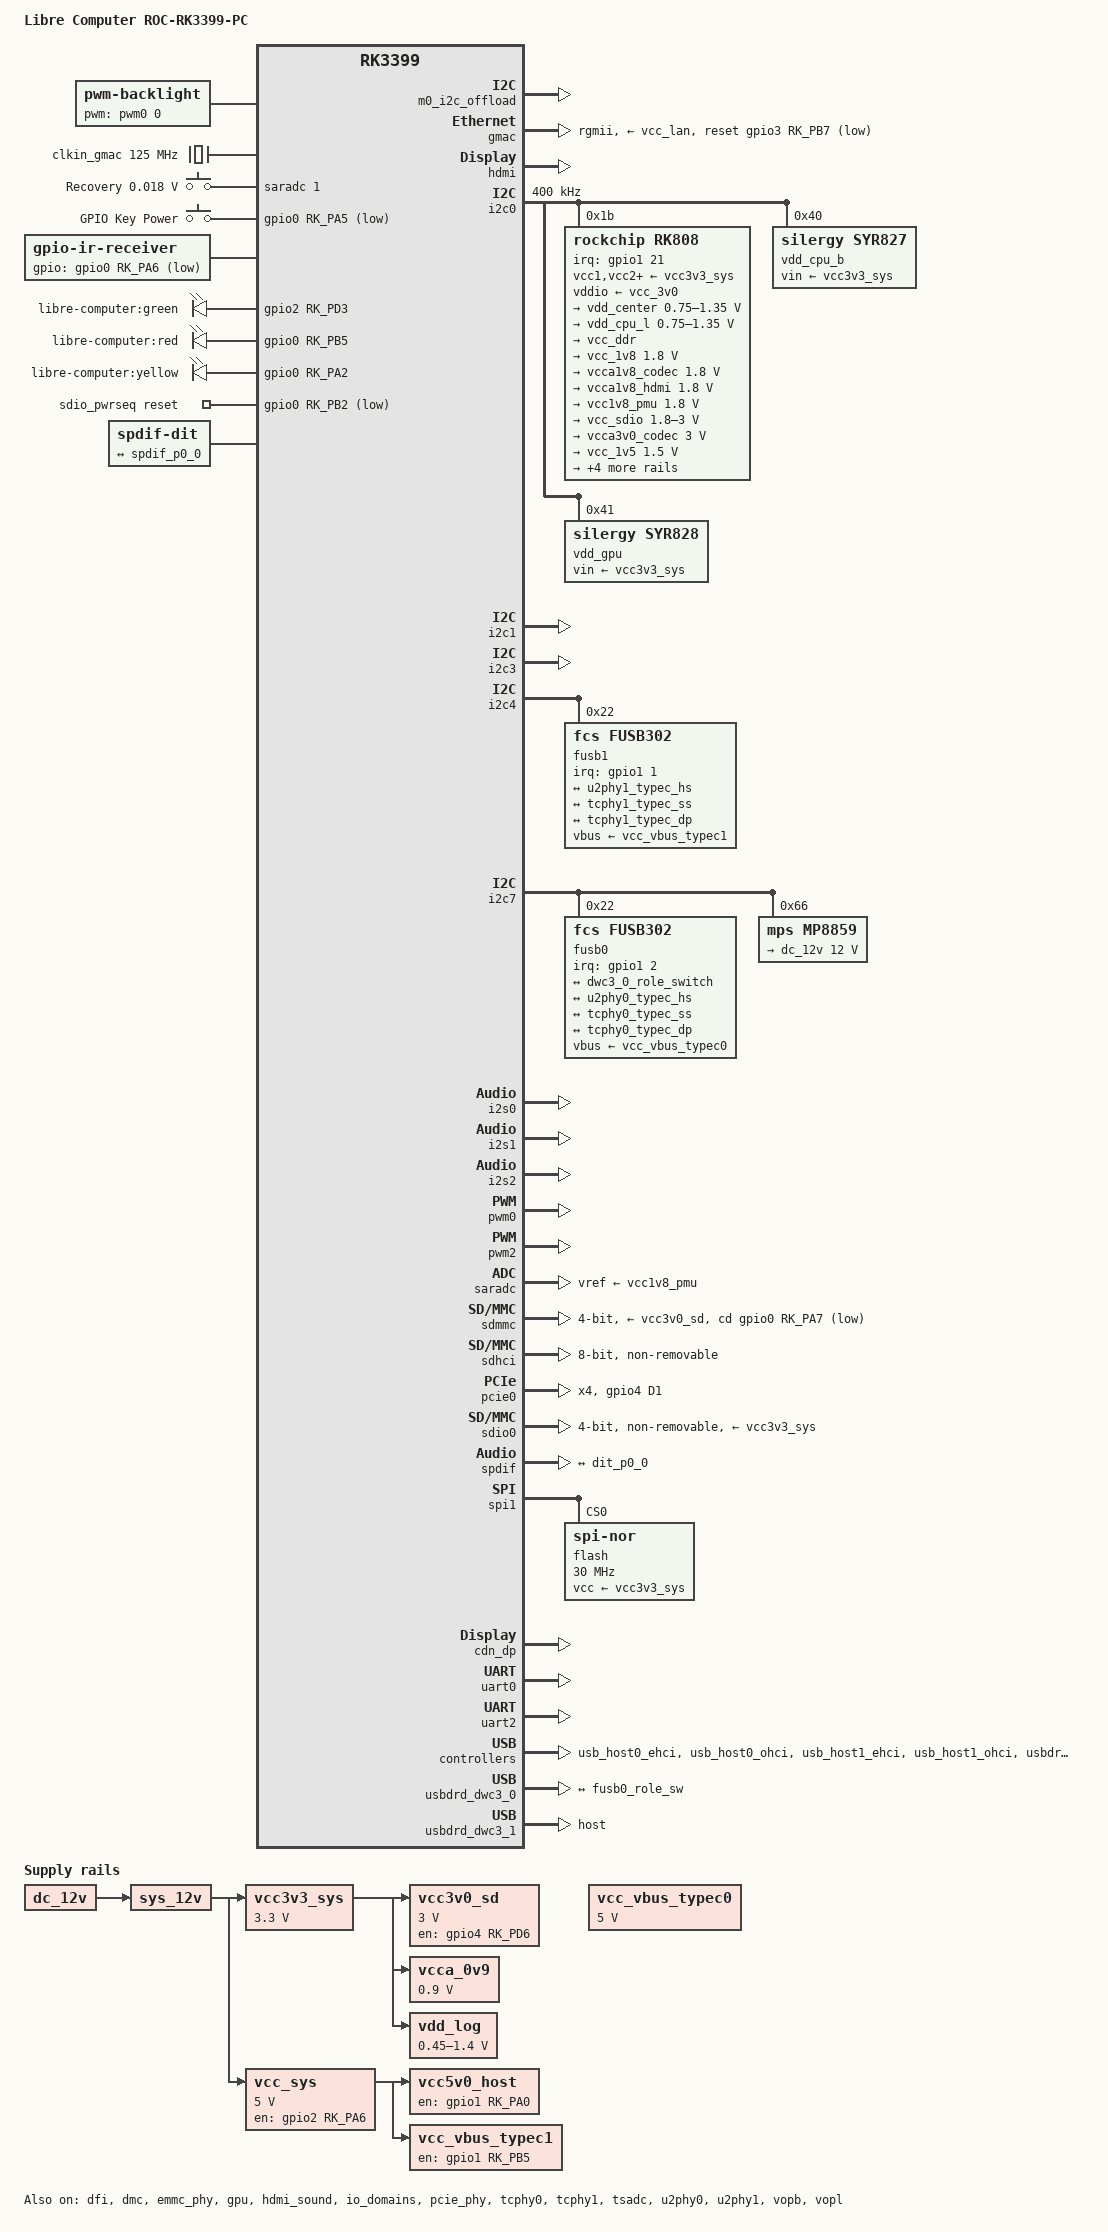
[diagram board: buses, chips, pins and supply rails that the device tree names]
// SPDX-License-Identifier: (GPL-2.0+ OR MIT)
/*
 * Copyright (c) 2017 T-Chip Intelligent Technology Co., Ltd
 */

/dts-v1/;
#include <dt-bindings/input/linux-event-codes.h>
#include <dt-bindings/pwm/pwm.h>
#include <dt-bindings/usb/pd.h>
#include "rk3399.dtsi"

/ {
	model = "Libre Computer ROC-RK3399-PC";
	compatible = "libre-computer,roc-rk3399-pc", "firefly,roc-rk3399-pc", "rockchip,rk3399";

	aliases {
		ethernet0 = &gmac;
		/*
		 * eMMC first, SD second. The MMC index is a priority order --
		 * the on-board eMMC is the primary boot medium and the SD slot
		 * is the removable one, so &sdhci is mmc0 and &sdmmc is mmc1.
		 *
		 * This is what rk3399-u-boot.dtsi has always said for the whole
		 * RK3399 family, so before this the two trees described the
		 * same two controllers with opposite numbers.
		 */
		mmc0 = &sdhci;
		mmc1 = &sdmmc;
		/* J15 SDIO0. The index matches rk3399-roc-pc-mezzanine.dts. */
		mmc2 = &sdio0;
	};

	chosen {
		stdout-path = "serial2:115200n8";
	};

	backlight: backlight {
		compatible = "pwm-backlight";
		pwms = <&pwm0 0 25000 0>;
	};

	clkin_gmac: external-gmac-clock {
		compatible = "fixed-clock";
		clock-frequency = <125000000>;
		clock-output-names = "clkin_gmac";
		#clock-cells = <0>;
	};

	/*
	 * SCMI (ARM DEN 0056), served by the Libre Computer BL31 from the
	 * SoC's Cortex-M0 and reached by SMC 0x82000010 (RK_SIP_SCMI_AGENT0),
	 * the id every other Rockchip SoC upstream uses for arm,scmi-smc.
	 * The server is board firmware, not silicon, so the agent lives in
	 * the board dtsi rather than rk3399.dtsi. Every consumer stays on
	 * &cru; the protocols are the ten read-mostly clocks and four reset
	 * domains of the perilp M0 the firmware exposes.
	 *
	 * Buffer at 0x100000, the first non-secure DRAM page: TZRAM is
	 * [0, 1 MiB) and BL31 lives at 0x40000 inside it. It is NOT in
	 * PMUSRAM, which would be the always-on choice, because PMUSRAM is
	 * secure-only on this SoC (MT_SECURE + SGRF_PMUSRAM_S) and an SMC
	 * against a buffer there hangs U-Boot before it relocates the kernel.
	 *
	 * No reserved-memory node for the buffer, deliberately: U-Boot's
	 * dram_init_banksize() starts /memory at 0x200000 ("Reserve 2M for
	 * ATF bl31"), so [0, 2 MiB) is already outside the kernel's view and
	 * a reservation there only reports a region the kernel never had.
	 */
	scmi_shmem: shmem@100000 {
		compatible = "arm,scmi-shmem";
		reg = <0x0 0x00100000 0x0 0x100>;
	};

	/*
	 * mailbox1 is pmum0's doorbell (TRM 1.4). It carries no data -- the
	 * SCMI message is in scmi_shmem -- but its pclk phandle here is what
	 * keeps pclk_mailbox_pmu out of clk_disable_unused, without which the
	 * doorbell would never reach the server.
	 */
	mbox1: mailbox@ff390000 {
		compatible = "rockchip,rk3399-mailbox";
		reg = <0x0 0xff390000 0x0 0x1000>;
		interrupts = <GIC_SPI 140 IRQ_TYPE_LEVEL_HIGH 0>,
			     <GIC_SPI 141 IRQ_TYPE_LEVEL_HIGH 0>,
			     <GIC_SPI 142 IRQ_TYPE_LEVEL_HIGH 0>,
			     <GIC_SPI 143 IRQ_TYPE_LEVEL_HIGH 0>;
		clocks = <&pmucru PCLK_MAILBOX_PMU>;
		clock-names = "pclk_mailbox";
		#mbox-cells = <1>;
	};

	/*
	 * I2C0 stays with Linux -- the M0 asks instead of taking. When the
	 * M0 SCMI server needs an RK808 register for a CPU OPP voltage it
	 * posts the request to this page and rings mailbox1 channel 1;
	 * drivers/soc/rockchip/rockchip-m0-i2c-offload.c runs the
	 * transfer and answers. Same addressing as scmi_shmem above:
	 * [0, 2 MiB) is already outside the kernel's /memory, so no
	 * reserved-memory node, deliberately.
	 */
	m0_i2c_offload: m0-i2c-offload@101000 {
		compatible = "rockchip,rk3399-m0-i2c-offload";
		reg = <0x0 0x00101000 0x0 0x40>;
		mboxes = <&mbox1 1>;
		rockchip,pwrctrl = <&rk808>;
	};

	firmware {
		scmi: scmi {
			compatible = "arm,scmi";
			mboxes = <&mbox1 0>;
			shmem = <&scmi_shmem>;
			#address-cells = <1>;
			#size-cells = <0>;

			scmi_clk: protocol@14 {
				reg = <0x14>;
				#clock-cells = <1>;
			};

			/* M0 TSADC reads: sensor 0 SoC/CPU, sensor 1 GPU */
			scmi_sensor: protocol@15 {
				reg = <0x15>;
				#thermal-sensor-cells = <1>;
			};

			scmi_reset: protocol@16 {
				reg = <0x16>;
				#reset-cells = <1>;
			};
		};
	};

	adc-keys {
		compatible = "adc-keys";
		io-channels = <&saradc 1>;
		io-channel-names = "buttons";
		keyup-threshold-microvolt = <1500000>;
		poll-interval = <100>;

		button-recovery {
			label = "Recovery";
			linux,code = <KEY_VENDOR>;
			press-threshold-microvolt = <18000>;
		};
	};

	gpio-keys {
		compatible = "gpio-keys";
		autorepeat;
		pinctrl-names = "default";
		pinctrl-0 = <&pwr_key_l>;

		key-power {
			debounce-interval = <100>;
			gpios = <&gpio0 RK_PA5 GPIO_ACTIVE_LOW>;
			label = "GPIO Key Power";
			linux,code = <KEY_POWER>;
			wakeup-source;
		};
	};

	ir-receiver {
		compatible = "gpio-ir-receiver";
		gpios = <&gpio0 RK_PA6 GPIO_ACTIVE_LOW>;
		pinctrl-names = "default";
		pinctrl-0 = <&ir_int>;
	};

	leds {
		compatible = "gpio-leds";
		pinctrl-names = "default";
		pinctrl-0 = <&work_led_pin>, <&diy_led_pin>, <&yellow_led_pin>;

		work_led: led-0 {
			label = "libre-computer:green";
			gpios = <&gpio2 RK_PD3 GPIO_ACTIVE_HIGH>;
			default-state = "on";
			linux,default-trigger = "heartbeat";
		};

		diy_led: led-1 {
			label = "libre-computer:red";
			gpios = <&gpio0 RK_PB5 GPIO_ACTIVE_HIGH>;
			default-state = "on";
		};

		yellow_led: led-2 {
			label = "libre-computer:yellow";
			gpios = <&gpio0 RK_PA2 GPIO_ACTIVE_HIGH>;
			default-state = "off";
			linux,default-trigger = "disk-activity";
			linux,panic-indicator;
		};
	};

	sdio_pwrseq: sdio-pwrseq {
		compatible = "mmc-pwrseq-simple";
		clocks = <&rk808 1>;
		clock-names = "ext_clock";
		pinctrl-names = "default";
		pinctrl-0 = <&wifi_enable_h>;

		/*
		 * On the module itself this is one of these (depending
		 * on the actual card populated):
		 * - SDIO_RESET_L_WL_REG_ON
		 * - PDN (power down when low)
		 */
		reset-gpios = <&gpio0 RK_PB2 GPIO_ACTIVE_LOW>;
	};

	sound-dit {
		compatible = "audio-graph-card";
		label = "SPDIF";
		dais = <&spdif_p0>;
	};

	spdif-dit {
		compatible = "linux,spdif-dit";
		#sound-dai-cells = <0>;

		port {
			dit_p0_0: endpoint {
				remote-endpoint = <&spdif_p0_0>;
			};
		};
	};

	vcc_vbus_typec0: regulator-vcc-vbus-typec0 {
		compatible = "regulator-fixed";
		regulator-name = "vcc_vbus_typec0";
		regulator-always-on;
		regulator-boot-on;
		regulator-min-microvolt = <5000000>;
		regulator-max-microvolt = <5000000>;
	};

	sys_12v: regulator-sys-12v {
		compatible = "regulator-fixed";
		regulator-name = "sys_12v";
		regulator-always-on;
		regulator-boot-on;
		vin-supply = <&dc_12v>;
	};

	/*
	 * No vcc1v8_s3 / vcca1v8_s3 rail. The schematic has no such net on
	 * any revision: the only "VCC1V8_S3" is on the reference power-domain
	 * map (sheet 3), and the circuit sheets wire that domain (APIO3,
	 * sheet 14 APIO3_VDD_1V8) straight to VCC_1V8, RK808 BUCK4. The rail
	 * this node used to stand in for -- the SARADC reference -- is
	 * VCCA_1V8, RK808 LDO3 (sheet 11 ADC_AVDD, sheet 16 VLDO3), i.e.
	 * vcc1v8_pmu, which &saradc names directly.
	 */

	vcc3v0_sd: regulator-vcc3v0-sd {
		compatible = "regulator-fixed";
		enable-active-high;
		gpio = <&gpio4 RK_PD6 GPIO_ACTIVE_HIGH>;
		pinctrl-names = "default";
		pinctrl-0 = <&vcc3v0_sd_en>;
		regulator-name = "vcc3v0_sd";
		regulator-boot-on;
		regulator-min-microvolt = <3000000>;
		regulator-max-microvolt = <3000000>;
		vin-supply = <&vcc3v3_sys>;
	};

	vcc3v3_sys: regulator-vcc3v3-sys {
		compatible = "regulator-fixed";
		regulator-name = "vcc3v3_sys";
		regulator-always-on;
		regulator-boot-on;
		regulator-min-microvolt = <3300000>;
		regulator-max-microvolt = <3300000>;
		vin-supply = <&sys_12v>;
	};

	vcca_0v9: regulator-vcca-0v9 {
		compatible = "regulator-fixed";
		regulator-name = "vcca_0v9";
		regulator-always-on;
		regulator-boot-on;
		regulator-min-microvolt = <900000>;
		regulator-max-microvolt = <900000>;
		vin-supply = <&vcc3v3_sys>;
	};

	/* Actually 3 regulators (host0, 1, 2) controlled by the same gpio */
	vcc5v0_host: regulator-vcc5v0-host {
		compatible = "regulator-fixed";
		enable-active-high;
		gpio = <&gpio1 RK_PA0 GPIO_ACTIVE_HIGH>;
		pinctrl-names = "default";
		pinctrl-0 = <&vcc5v0_host_en &hub_rst>;
		regulator-name = "vcc5v0_host";
		/*
		 * The bootloader turns this rail on: USB is a boot source,
		 * and applying the &hub_rst group above is what releases
		 * the USB 3.0 hub from reset. Saying so here keeps the
		 * fixed-regulator driver from requesting GPIO1_A0 as
		 * OUT_LOW at probe and dropping the host ports' 5 V until
		 * the USB PHYs re-enable it.
		 */
		regulator-boot-on;
		vin-supply = <&vcc_sys>;
	};

	vcc_vbus_typec1: regulator-vcc-vbus-typec1 {
		compatible = "regulator-fixed";
		enable-active-high;
		gpio = <&gpio1 RK_PB5 GPIO_ACTIVE_HIGH>;
		pinctrl-names = "default";
		pinctrl-0 = <&vcc_vbus_typec1_en>;
		regulator-name = "vcc_vbus_typec1";
		/*
		 * Deliberately NOT regulator-always-on. This is a Type-C
		 * source port's VBUS, so it belongs to the port manager:
		 * TCPM sequences it as part of attach, and pinning it on
		 * stalls the state machine in SRC_ATTACH_WAIT -- CC1 reads
		 * Rd and the transition to SRC_ATTACHED never completes,
		 * because that step is "now turn VBUS on" and there is
		 * nothing left to turn on.
		 *
		 * It is fed from vcc_sys and switched by GPIO1_B5, which is
		 * exactly what fusb1's vbus-supply needs to drive.
		 */
		vin-supply = <&vcc_sys>;
	};

	vcc_sys: regulator-vcc-sys {
		compatible = "regulator-fixed";
		enable-active-high;
		gpio = <&gpio2 RK_PA6 GPIO_ACTIVE_HIGH>;
		pinctrl-names = "default";
		pinctrl-0 = <&vcc_sys_en>;
		regulator-name = "vcc_sys";
		regulator-boot-on;
		regulator-min-microvolt = <5000000>;
		regulator-max-microvolt = <5000000>;
		vin-supply = <&sys_12v>;
	};

	vdd_log: regulator-vdd-log {
		compatible = "pwm-regulator";
		pwms = <&pwm2 0 25000 1>;
		regulator-name = "vdd_log";
		regulator-always-on;
		regulator-boot-on;
		regulator-min-microvolt = <450000>;
		regulator-max-microvolt = <1400000>;
		pwm-supply = <&vcc3v3_sys>;
	};

	/*
	 * The LPDDR4 DFS set points, every one a rate BL31's dfs.c
	 * ddr_set_rate() reached from 800 MHz and back with a two-sided
	 * 512 MiB memory check clean on both legs, on its JESD209-4 latency
	 * (928 RL20/WL10 ... 200 RL6/WL4). 800 MHz is the TPL-trained boot
	 * set point. Every entry carries the boot vdd_center; no rate has been
	 * measured at any other voltage, so none is lowered here.
	 *
	 * The table REQUIRES a BL31 that generates the PI's per-frequency F2
	 * fields (LBS atf master ca4ce2c2e and later): on the earlier firmware
	 * controller index 0 was retrained against the loader's 400 MHz
	 * latencies, and 928 and 200 wedged mid-print with no console or
	 * watchdog path out. The measured set is the ROC-RK3399-PC V1.2A
	 * (single-rank per channel); the V1.0 two-rank package is unmeasured.
	 */
	dmc_opp_table: opp-table-3 {
		compatible = "operating-points-v2";

		opp00 {
			opp-hz = /bits/ 64 <200000000>;
			opp-microvolt = <900000 900000 925000>;
		};
		opp01 {
			opp-hz = /bits/ 64 <300000000>;
			opp-microvolt = <900000 900000 925000>;
		};
		opp02 {
			opp-hz = /bits/ 64 <400000000>;
			opp-microvolt = <900000 900000 925000>;
		};
		opp03 {
			opp-hz = /bits/ 64 <528000000>;
			opp-microvolt = <900000 900000 925000>;
		};
		opp04 {
			opp-hz = /bits/ 64 <600000000>;
			opp-microvolt = <900000 900000 925000>;
		};
		opp05 {
			opp-hz = /bits/ 64 <666000000>;
			opp-microvolt = <900000 900000 925000>;
		};
		opp06 {
			opp-hz = /bits/ 64 <732000000>;
			opp-microvolt = <900000 900000 925000>;
		};
		opp07 {
			opp-hz = /bits/ 64 <800000000>;
			opp-microvolt = <900000 900000 925000>;
		};
		opp08 {
			opp-hz = /bits/ 64 <928000000>;
			opp-microvolt = <900000 900000 925000>;
		};
	};
};

&cpu_l0 {
	cpu-supply = <&vdd_cpu_l>;
};

&cpu_l1 {
	cpu-supply = <&vdd_cpu_l>;
};

&cpu_l2 {
	cpu-supply = <&vdd_cpu_l>;
};

&cpu_l3 {
	cpu-supply = <&vdd_cpu_l>;
};

&cpu_b0 {
	cpu-supply = <&vdd_cpu_b>;
};

&cpu_b1 {
	cpu-supply = <&vdd_cpu_b>;
};

&dfi {
	status = "okay";
};

/*
 * The PL330 DMACs are AXI masters on PERILP, the one interconnect segment a
 * DRAM frequency change cannot idle (it carries the SRAM the switch runs
 * from); a transfer in flight during a switch hangs the SoC. Each DMAC drains
 * itself on the dmc devfreq's PRECHANGE and vetoes a change it cannot drain
 * for -- see drivers/dma/pl330.c pl330_dmc_notifier().
 */
&dmac_bus {
	rockchip,dmc-devfreq = <&dmc>;
};

&dmac_peri {
	rockchip,dmc-devfreq = <&dmc>;
};

/*
 * A frequency change goes clk_set_rate(SCLK_DDRC) -> SMC ROCKCHIP_SIP_DRAM_FREQ
 * -> BL31 ddr_set_rate(), preceded by DRAM_SET_ODT_PD carrying the idle timers
 * below and the ODT enable, which the driver drops below lpddr4_odt_dis_freq.
 * The rates dmc_opp_table may cite, and the BL31 it needs, are stated there.
 */
&dmc {
	status = "okay";
	center-supply = <&vdd_center>;
	operating-points-v2 = <&dmc_opp_table>;

	rockchip,pd-idle-ns = <160>;
	rockchip,sr-idle-ns = <10240>;
	rockchip,sr-mc-gate-idle-ns = <40960>;
	rockchip,srpd-lite-idle-ns = <61440>;
	rockchip,standby-idle-ns = <81920>;

	rockchip,ddr3_odt_dis_freq = <666000000>;
	rockchip,lpddr3_odt_dis_freq = <666000000>;
	rockchip,lpddr4_odt_dis_freq = <666000000>;

	rockchip,sr-mc-gate-idle-dis-freq-hz = <1000000000>;
	rockchip,srpd-lite-idle-dis-freq-hz = <0>;
	rockchip,standby-idle-dis-freq-hz = <928000000>;
};

&emmc_phy {
	status = "okay";
};

&gmac {
	assigned-clocks = <&cru SCLK_RMII_SRC>;
	assigned-clock-parents = <&clkin_gmac>;
	clock_in_out = "input";
	phy-supply = <&vcc_lan>;
	phy-mode = "rgmii";
	pinctrl-names = "default";
	pinctrl-0 = <&rgmii_pins>;
	snps,reset-gpio = <&gpio3 RK_PB7 GPIO_ACTIVE_LOW>;
	snps,reset-active-low;
	snps,reset-delays-us = <0 10000 50000>;
	tx_delay = <0x28>;
	rx_delay = <0x11>;
	status = "okay";
};

/*
 * The 14 PMU-domain lines, named by their schematic nets (sheet 7 "RK3399
 * PMU Controler", identical on V1.0, V1.1-A and V1.2A). GPIO0_A1 and
 * GPIO0_B4 carry no on-board function: on V1.0 and V1.1-A they go to the
 * expansion header, J20 pins 25 and 26, under their own names. V1.2A rewires
 * both to the eDP touch panel -- rk3399-roc-pc-v1.2.dts overrides these two.
 */
&gpio0 {
	gpio-line-names =
		/* GPIO0_A0..A7 */
		"RTC_CLKO_SOC", "GPIO0_A1", "YELLOW_LED", "WIFI_HOST_WAKE_L",
		"BT_HOST_WAKE_L", "PWR_KEY_L", "IR_INT", "SDMMC0_DET_L",
		/* GPIO0_B0..B5 */
		"MIPI_RST", "BT_REG_ON_H", "WIFI_REG_ON_H", "EFUSE_VQPS_EN_H",
		"GPIO0_B4", "DIY_LED";
};

&gpu {
	mali-supply = <&vdd_gpu>;
	status = "okay";
};

&hdmi {
	avdd-0v9-supply = <&vcca0v9_hdmi>;
	avdd-1v8-supply = <&vcca1v8_hdmi>;
	ddc-i2c-bus = <&i2c3>;
	pinctrl-names = "default";
	pinctrl-0 = <&hdmi_cec>;
	status = "okay";
};

&hdmi_sound {
	status = "okay";
};

&i2c0 {
	clock-frequency = <400000>;
	i2c-scl-rising-time-ns = <168>;
	i2c-scl-falling-time-ns = <4>;
	status = "okay";

	rk808: pmic@1b {
		compatible = "rockchip,rk808";
		reg = <0x1b>;
		interrupt-parent = <&gpio1>;
		interrupts = <21 IRQ_TYPE_LEVEL_LOW>;
		#clock-cells = <1>;
		clock-output-names = "xin32k", "rk808-clkout2";
		pinctrl-names = "default";
		pinctrl-0 = <&pmic_int_l>;
		system-power-controller;
		wakeup-source;

		vcc1-supply = <&vcc3v3_sys>;
		vcc2-supply = <&vcc3v3_sys>;
		vcc3-supply = <&vcc3v3_sys>;
		vcc4-supply = <&vcc3v3_sys>;
		vcc6-supply = <&vcc3v3_sys>;
		vcc7-supply = <&vcc3v3_sys>;
		vcc8-supply = <&vcc3v3_sys>;
		vcc9-supply = <&vcc3v3_sys>;
		vcc10-supply = <&vcc3v3_sys>;
		vcc11-supply = <&vcc3v3_sys>;
		vcc12-supply = <&vcc3v3_sys>;
		vddio-supply = <&vcc_3v0>;

		regulators {
			vdd_center: DCDC_REG1 {
				regulator-name = "vdd_center";
				regulator-always-on;
				regulator-boot-on;
				regulator-min-microvolt = <750000>;
				regulator-max-microvolt = <1350000>;
				regulator-ramp-delay = <6001>;
				regulator-state-mem {
					regulator-off-in-suspend;
				};
			};

			vdd_cpu_l: DCDC_REG2 {
				regulator-name = "vdd_cpu_l";
				regulator-always-on;
				regulator-boot-on;
				regulator-min-microvolt = <750000>;
				regulator-max-microvolt = <1350000>;
				regulator-ramp-delay = <6001>;
				regulator-state-mem {
					regulator-off-in-suspend;
				};
			};

			vcc_ddr: DCDC_REG3 {
				regulator-name = "vcc_ddr";
				regulator-always-on;
				regulator-boot-on;
				regulator-state-mem {
					regulator-on-in-suspend;
				};
			};

			vcc_1v8: DCDC_REG4 {
				regulator-name = "vcc_1v8";
				regulator-always-on;
				regulator-boot-on;
				regulator-min-microvolt = <1800000>;
				regulator-max-microvolt = <1800000>;
				regulator-state-mem {
					regulator-on-in-suspend;
					regulator-suspend-microvolt = <1800000>;
				};
			};

			vcca1v8_codec: LDO_REG1 {
				regulator-name = "vcca1v8_codec";
				regulator-always-on;
				regulator-boot-on;
				regulator-min-microvolt = <1800000>;
				regulator-max-microvolt = <1800000>;
				regulator-state-mem {
					regulator-off-in-suspend;
				};
			};

			vcca1v8_hdmi: LDO_REG2 {
				regulator-name = "vcca1v8_hdmi";
				regulator-always-on;
				regulator-boot-on;
				regulator-min-microvolt = <1800000>;
				regulator-max-microvolt = <1800000>;
				regulator-state-mem {
					regulator-off-in-suspend;
				};
			};

			vcc1v8_pmu: LDO_REG3 {
				regulator-name = "vcc1v8_pmu";
				regulator-always-on;
				regulator-boot-on;
				regulator-min-microvolt = <1800000>;
				regulator-max-microvolt = <1800000>;
				regulator-state-mem {
					regulator-on-in-suspend;
					regulator-suspend-microvolt = <1800000>;
				};
			};

			vcc_sdio: LDO_REG4 {
				regulator-name = "vcc_sdio";
				regulator-always-on;
				regulator-boot-on;
				regulator-min-microvolt = <1800000>;
				regulator-max-microvolt = <3000000>;
				regulator-state-mem {
					regulator-on-in-suspend;
					regulator-suspend-microvolt = <3000000>;
				};
			};

			vcca3v0_codec: LDO_REG5 {
				regulator-name = "vcca3v0_codec";
				regulator-always-on;
				regulator-boot-on;
				regulator-min-microvolt = <3000000>;
				regulator-max-microvolt = <3000000>;
				regulator-state-mem {
					regulator-off-in-suspend;
				};
			};

			vcc_1v5: LDO_REG6 {
				regulator-name = "vcc_1v5";
				regulator-always-on;
				regulator-boot-on;
				regulator-min-microvolt = <1500000>;
				regulator-max-microvolt = <1500000>;
				regulator-state-mem {
					regulator-on-in-suspend;
					regulator-suspend-microvolt = <1500000>;
				};
			};

			vcca0v9_hdmi: LDO_REG7 {
				regulator-name = "vcca0v9_hdmi";
				regulator-always-on;
				regulator-boot-on;
				regulator-min-microvolt = <900000>;
				regulator-max-microvolt = <900000>;
				regulator-state-mem {
					regulator-off-in-suspend;
				};
			};

			vcc_3v0: LDO_REG8 {
				regulator-name = "vcc_3v0";
				regulator-always-on;
				regulator-boot-on;
				regulator-min-microvolt = <3000000>;
				regulator-max-microvolt = <3000000>;
				regulator-state-mem {
					regulator-on-in-suspend;
					regulator-suspend-microvolt = <3000000>;
				};
			};

			vcc3v3_s3: vcc_lan: SWITCH_REG1 {
				regulator-name = "vcc3v3_s3";
				regulator-always-on;
				regulator-boot-on;
				regulator-state-mem {
					regulator-off-in-suspend;
				};
			};

			vcc3v3_s0: SWITCH_REG2 {
				regulator-name = "vcc3v3_s0";
				regulator-always-on;
				regulator-boot-on;
				regulator-state-mem {
					regulator-off-in-suspend;
				};
			};
		};
	};

	vdd_cpu_b: regulator@40 {
		compatible = "silergy,syr827";
		reg = <0x40>;
		fcs,suspend-voltage-selector = <1>;
		pinctrl-names = "default";
		pinctrl-0 = <&vsel1_pin>;
		regulator-name = "vdd_cpu_b";
		regulator-min-microvolt = <712500>;
		regulator-max-microvolt = <1500000>;
		regulator-ramp-delay = <1000>;
		regulator-always-on;
		regulator-boot-on;
		vin-supply = <&vcc3v3_sys>;

		regulator-state-mem {
			regulator-off-in-suspend;
		};
	};

	vdd_gpu: regulator@41 {
		compatible = "silergy,syr828";
		reg = <0x41>;
		fcs,suspend-voltage-selector = <1>;
		pinctrl-names = "default";
		pinctrl-0 = <&vsel2_pin>;
		regulator-name = "vdd_gpu";
		regulator-min-microvolt = <712500>;
		regulator-max-microvolt = <1500000>;
		regulator-ramp-delay = <1000>;
		regulator-always-on;
		regulator-boot-on;
		vin-supply = <&vcc3v3_sys>;

		regulator-state-mem {
			regulator-off-in-suspend;
		};
	};
};

&i2c1 {
	i2c-scl-rising-time-ns = <300>;
	i2c-scl-falling-time-ns = <15>;
	status = "okay";
};

&i2c3 {
	i2c-scl-rising-time-ns = <450>;
	i2c-scl-falling-time-ns = <15>;
	status = "okay";
};

&i2c4 {
	i2c-scl-rising-time-ns = <600>;
	i2c-scl-falling-time-ns = <20>;
	status = "okay";

	fusb1: usb-typec@22 {
		compatible = "fcs,fusb302";
		reg = <0x22>;
		interrupt-parent = <&gpio1>;
		interrupts = <1 IRQ_TYPE_LEVEL_LOW>;
		pinctrl-names = "default";
		pinctrl-0 = <&fusb1_int>;
		vbus-supply = <&vcc_vbus_typec1>;
		status = "okay";

		usb_con1: connector {
			compatible = "usb-c-connector";
			/*
			 * "dual", not "host". This property is the connector's
			 * Type-C DATA role capability, not the dwc3 dr_mode.
			 *
			 * "host" sets typec_caps.data = TYPEC_PORT_DFP, and
			 * tcpm_data_role_for_sink() then hands TYPEC_HOST to
			 * tcpm_set_roles() on every sink attach -- so a port
			 * that has just attached as a SINK is recorded as a
			 * DFP. When the partner (a source, therefore a DFP)
			 * sends its first PD message, PD_HEADER_DATA_ROLE
			 * matches port->data_role and tcpm_pd_rx_handler()
			 * declares "Data role mismatch, initiating error
			 * recovery". PORT_RESET, re-toggle, re-attach, same
			 * mismatch -- an unbounded ~0.55 s loop that never
			 * reaches a PD contract, so DISCOVER_SVIDS and DP
			 * alt mode never happen.
			 *
			 * With "dual" the sink attach takes TYPEC_DEVICE, the
			 * header bit disagrees with the partner's, and the
			 * contract completes. Every in-tree board carrying the
			 * 0x00001c46 DP VDO (qrb5165-rb5, sm8150-hdk,
			 * mt8395-genio-1200-evk) declares "dual" likewise.
			 */
			data-role = "dual";
			label = "USB-C1";
			op-sink-microwatt = <1000000>;
			power-role = "dual";
			/*
			 * The board does not draw its power through this
			 * receptacle -- Type-C0 is the PD inlet feeding the
			 * MP8859 -- so TCPM may present CC Open here.
			 *
			 * That is what makes error recovery an actual
			 * electrical detach. tcpm_state_machine()'s PORT_RESET
			 * gates on this: with self-powered it drives
			 * TYPEC_CC_OPEN, and without it it drives Rd/Rp, so the
			 * partner never sees a disconnect, keeps its protocol
			 * state and data role, and is re-offered the same
			 * conditions that failed. Nothing bounds the retry.
			 *
			 * Measured on the U-Boot side of this exact port, where
			 * the same predicate and the same missing property
			 * produced the same burst: adding it took DisplayPort
			 * link-up from 6-of-7 boots to 10-of-10, the PD
			 * "data role mismatch, initiating error recovery"
			 * lines from 4-5 per boot to 1-2, and settle time from
			 * ~13 s to ~8 s.
			 *
			 * NOT on usb_con0, deliberately: the board IS powered
			 * through that one, so opening its CC lines during a
			 * reset would cut the supply it is sitting on.
			 */
			self-powered;
			sink-pdos =
				<PDO_FIXED(5000, 2500, PDO_FIXED_USB_COMM)>;
			source-pdos =
				<PDO_FIXED(5000, 1400, PDO_FIXED_USB_COMM)>;
			try-power-role = "sink";

			/*
			 * Declare that this port speaks DisplayPort alt mode.
			 * Without it the port registers no alt mode, and
			 * dp_altmode_probe() -- which matches the partner's
			 * pin assignments against THIS port's DP VDO -- has
			 * nothing to match, so the DisplayPort driver never
			 * binds and ENTER_MODE is never sent. Measured: the
			 * partner advertises SVID ff01 and DISCOVER_MODES
			 * completes, then nothing happens.
			 *
			 * The VDO is derived, not permissive. Field by field:
			 * capability 2 (DFP_D -- cdn-dp is source-only, there
			 * is no sink path in the driver), signalling 1 (the
			 * single DPAM 1.0b "DP signalling" value; the rate is
			 * clamped to HBR2 over DPCD by CDN_DP_MAX_LINK_RATE),
			 * receptacle 1, and DFP_D pin assignments 0x1c = C|D|E.
			 *
			 * C|D|E is a closed enumeration in the PHY, not a
			 * guess: rk_typec_mux_set() handles TYPEC_DP_STATE_C
			 * and _E as 4-lane DP and _D as 2-lane DP + USB3, and
			 * drops F, A and B to default: -- MODE_DFP_USB with
			 * dp_lanes = 0, i.e. no DP at all.
			 *
			 * Advertising everything (0xffffffff, which is what
			 * the Rockchip boards in-tree do) is not merely untidy.
			 * Because DP_CAP_RECEPTACLE is set, it claims F as
			 * well, and against a partner offering both D and F the
			 * multi-function mask in dp_altmode_configure() leaves
			 * two bits set; dp_altmode_notify() then takes
			 * get_count_order(0x28) = 6, past TYPEC_DP_STATE_F, and
			 * the mux falls through to USB-only. With 0x1c every
			 * reachable outcome is a single bit the mux handles.
			 *
			 * 0x00001c46 is also what qrb5165-rb5, sm8150-hdk and
			 * mt8395-genio-1200-evk ship -- every in-tree board
			 * that encodes a real value converges here.
			 */
			altmodes {
				displayport {
					svid = /bits/ 16 <0xff01>;
					vdo = <0x00001c46>;
				};
			};

			ports {
				#address-cells = <1>;
				#size-cells = <0>;

				port@0 {
					reg = <0>;

					usb_con1_hs: endpoint {
						remote-endpoint =
							<&u2phy1_typec_hs>;
					};
				};

				port@1 {
					reg = <1>;

					usb_con1_ss: endpoint {
						remote-endpoint =
							<&tcphy1_typec_ss>;
					};
				};

				port@2 {
					reg = <2>;

					usb_con1_dp: endpoint {
						remote-endpoint =
							<&tcphy1_typec_dp>;
					};
				};
			};
		};
	};
};

&i2c7 {
	i2c-scl-rising-time-ns = <600>;
	i2c-scl-falling-time-ns = <20>;
	status = "okay";

	fusb0: usb-typec@22 {
		compatible = "fcs,fusb302";
		reg = <0x22>;
		interrupt-parent = <&gpio1>;
		interrupts = <2 IRQ_TYPE_LEVEL_LOW>;
		pinctrl-names = "default";
		pinctrl-0 = <&fusb0_int>;
		vbus-supply = <&vcc_vbus_typec0>;
		status = "okay";

		/*
		 * The data role TCPM negotiates on this port drives the rear
		 * dwc3 through its role switch. Without it the dwc3 sat in
		 * dr_mode "otg" with no ID pin and latched HOST, and that xHCI
		 * refused every system suspend (-110 halt timeout, B121). The
		 * board is always a sink here, so the role is device unless a
		 * partner swaps data roles over PD.
		 */
		ports {
			#address-cells = <1>;
			#size-cells = <0>;

			port@0 {
				reg = <0>;

				fusb0_role_sw: endpoint {
					remote-endpoint = <&dwc3_0_role_switch>;
				};
			};
		};

		/*
		 * Type-C0 is this board's power input: VBUS_TYPEC0 feeds the
		 * MP8859 buck-boost that makes DC_12V. So it is a sink, not a
		 * dual-role port -- vcc_vbus_typec0 is a fixed always-on
		 * regulator with no enable GPIO, i.e. a placeholder for VBUS
		 * arriving, and nothing on this port can actually source it.
		 * (Type-C1 is the one that can: vcc_vbus_typec1 has an enable
		 * GPIO and vin-supply = <&vcc_sys>.)
		 *
		 * The sink list stops at 15 V because the MP8859 accepts
		 * 5-15 V in; a 20 V contract would put it outside its input
		 * range. Advertising only 5 V/2.5 A capped the whole board at
		 * 12.5 W, against a 12 V/3 A barrel jack and 802.3at PoE+.
		 */
		usb_con0: connector {
			compatible = "usb-c-connector";
			/*
			 * "dual", not "host" -- the same property, the same
			 * mechanism and the same fix as usb_con1 in
			 * 5e701b29dfe5f. "host" sets typec_caps.data to
			 * TYPEC_PORT_DFP, so tcpm_data_role_for_sink() hands
			 * TYPEC_HOST to the tcpm_set_roles() inside
			 * tcpm_snk_attach() on every sink attach. The partner
			 * is a source and therefore a DFP, both ends claim
			 * DFP, and tcpm_pd_rx_handler() declares "Data role
			 * mismatch, initiating error recovery" before any
			 * contract exists.
			 *
			 * It is worse here than it was on usb_con1, not
			 * better. This port has no self-powered -- deliberately,
			 * because the board draws its own supply through it --
			 * so PORT_RESET re-presents Rd instead of CC Open. The
			 * partner never sees a disconnect, so the loop runs
			 * silently rather than visibly, and no PD contract is
			 * ever reached on the port that feeds the MP8859.
			 *
			 * U-Boot's rk3399-roc-pc-u-boot.dtsi has said "dual"
			 * here all along; this line was the divergence.
			 */
			data-role = "dual";
			label = "USB-C0";
			op-sink-microwatt = <15000000>;
			power-role = "sink";
			sink-pdos =
				<PDO_FIXED(5000, 3000, PDO_FIXED_USB_COMM)>,
				<PDO_FIXED(9000, 3000, 0)>,
				<PDO_FIXED(12000, 3000, 0)>,
				<PDO_FIXED(15000, 3000, 0)>;

			/*
			 * The same DisplayPort alt mode as usb_con1, for the
			 * same reason: this port routes all four SuperSpeed
			 * pairs and its AUX pair to tcphy0, and cdn_dp names
			 * both PHYs, so it is DP-capable in hardware and
			 * declared nothing. The VDO derivation is usb_con1's
			 * comment; 0x00001c46 is the same closed C|D|E set the
			 * PHY mux handles on either port.
			 */
			altmodes {
				displayport {
					svid = /bits/ 16 <0xff01>;
					vdo = <0x00001c46>;
				};
			};

			ports {
				#address-cells = <1>;
				#size-cells = <0>;

				port@0 {
					reg = <0>;

					usb_con0_hs: endpoint {
						remote-endpoint =
							<&u2phy0_typec_hs>;
					};
				};

				port@1 {
					reg = <1>;

					usb_con0_ss: endpoint {
						remote-endpoint =
							<&tcphy0_typec_ss>;
					};
				};

				port@2 {
					reg = <2>;

					usb_con0_dp: endpoint {
						remote-endpoint =
							<&tcphy0_typec_dp>;
					};
				};
			};
		};
	};

	mp8859: regulator@66 {
		compatible = "mps,mp8859";
		reg = <0x66>;
		dc_12v: mp8859_dcdc {
			regulator-name = "dc_12v";
			regulator-min-microvolt = <12000000>;
			regulator-max-microvolt = <12000000>;
			regulator-always-on;
			regulator-boot-on;
			vin-supply = <&vcc_vbus_typec0>;

			regulator-state-mem {
				regulator-on-in-suspend;
				regulator-suspend-microvolt = <12000000>;
			};
		};
	};
};

&i2s0 {
	rockchip,playback-channels = <8>;
	rockchip,capture-channels = <8>;
	status = "okay";
};

&i2s1 {
	rockchip,playback-channels = <2>;
	rockchip,capture-channels = <2>;
	status = "okay";
};

&i2s2 {
	status = "okay";
};

&io_domains {
	audio-supply = <&vcca1v8_codec>;
	bt656-supply = <&vcc_3v0>;
	gpio1830-supply = <&vcc_3v0>;
	sdmmc-supply = <&vcc_sdio>;
	status = "okay";
};

&pmu_io_domains {
	pmu1830-supply = <&vcc_3v0>;
	status = "okay";
};

&pinctrl {
	buttons {
		pwr_key_l: pwr-key-l {
			rockchip,pins = <0 RK_PA5 RK_FUNC_GPIO &pcfg_pull_up>;
		};
	};

	ir {
		ir_int: ir-int {
			rockchip,pins = <0 RK_PA6 RK_FUNC_GPIO &pcfg_pull_none>;
		};
	};

	lcd-panel {
		lcd_panel_reset: lcd-panel-reset {
			rockchip,pins = <4 RK_PD5 RK_FUNC_GPIO &pcfg_pull_up>;
		};
	};

	leds {
		diy_led_pin: diy-led-pin {
			rockchip,pins = <0 RK_PB5 RK_FUNC_GPIO &pcfg_pull_none>;
		};

		work_led_pin: work-led-pin {
			rockchip,pins = <2 RK_PD3 RK_FUNC_GPIO &pcfg_pull_none>;
		};

		yellow_led_pin: yellow-led-pin {
			rockchip,pins = <0 RK_PA2 RK_FUNC_GPIO &pcfg_pull_none>;
		};
	};

	pmic {
		vsel1_pin: vsel1-pin {
			rockchip,pins = <1 RK_PC2 RK_FUNC_GPIO &pcfg_pull_down>;
		};

		vsel2_pin: vsel2-pin {
			rockchip,pins = <1 RK_PB6 RK_FUNC_GPIO &pcfg_pull_down>;
		};
	};

	sdio-pwrseq {
		wifi_enable_h: wifi-enable-h {
			rockchip,pins = <0 RK_PB2 RK_FUNC_GPIO &pcfg_pull_none>;
		};
	};

	sdmmc {
		vcc3v0_sd_en: vcc3v0-sd-en {
			rockchip,pins = <4 RK_PD6 RK_FUNC_GPIO &pcfg_pull_none>;
		};
	};

	/*
	 * PERST# for the PCIe connector. GPIO4_D1 is J12 pin 5 on this
	 * board. The slot 3.3 V load-switch enable (GPIO1_C1) is on the
	 * mezzanine and stays in rk3399-roc-pc-mezzanine.dts.
	 */
	pcie {
		pcie_perst: pcie-perst {
			rockchip,pins = <4 RK_PD1 RK_FUNC_GPIO &pcfg_pull_none>;
		};
	};

	pmic {
		pmic_int_l: pmic-int-l {
			rockchip,pins = <1 RK_PC5 RK_FUNC_GPIO &pcfg_pull_up>;
		};
	};

	usb2 {
		vcc5v0_host_en: vcc5v0-host-en {
			rockchip,pins = <1 RK_PA0 RK_FUNC_GPIO &pcfg_pull_none>;
		};

		vcc_sys_en: vcc-sys-en {
			rockchip,pins = <2 RK_PA6 RK_FUNC_GPIO &pcfg_pull_none>;
		};

		hub_rst: hub-rst {
			rockchip,pins = <2 RK_PA4 RK_FUNC_GPIO &pcfg_output_high>;
		};
	};

	usb-typec {
		vcc_vbus_typec1_en: vcc-vbus-typec1-en {
			rockchip,pins = <1 RK_PB5 RK_FUNC_GPIO &pcfg_pull_none>;
		};
	};

	fusb30x {
		fusb0_int: fusb0-int {
			rockchip,pins = <1 RK_PA2 RK_FUNC_GPIO &pcfg_pull_up>;
		};

		fusb1_int: fusb1-int {
			rockchip,pins = <1 RK_PA1 RK_FUNC_GPIO &pcfg_pull_up>;
		};
	};
};

&pwm0 {
	status = "okay";
};

&pwm2 {
	status = "okay";
};

&saradc {
	/*
	 * ADC_AVDD is VCCA_1V8 (schematic sheet 11, ball AC24), which is RK808
	 * LDO3 (sheet 16 VLDO3) -- the same rail that feeds PMUIO1 and the
	 * PLLs (sheet 7). Not a BUCK4-derived rail; see the note where the
	 * phantom vcc1v8_s3 regulator used to be.
	 */
	vref-supply = <&vcc1v8_pmu>;
	status = "okay";
};

&sdmmc {
	bus-width = <4>;
	cap-sd-highspeed;
	cd-gpios = <&gpio0 RK_PA7 GPIO_ACTIVE_LOW>;
	disable-wp;
	max-frequency = <150000000>;
	/* fork-only ceiling, guarded by the dw_mmc-rockchip fallback ladder */
	max-frequency-tuned = <200000000>;
	pinctrl-names = "default";
	pinctrl-0 = <&sdmmc_clk &sdmmc_cmd &sdmmc_bus4>;
	sd-uhs-sdr104;
	vmmc-supply = <&vcc3v0_sd>;
	vqmmc-supply = <&vcc_sdio>;
	status = "okay";
};

&sdhci {
	bus-width = <8>;
	/*
	 * The eMMC's VCCQ is 1.8 V and only 1.8 V. Schematic sheet 18: J11
	 * pins 13/15/17/19/21/23 are one net off RK808 BUCK4, with no 3.3 V
	 * option and no level shifting anywhere in the path. VCC (pins
	 * 1..11) is separately 3.3 V from VSW1.
	 *
	 * Without these the node describes a part whose I/O rail can be
	 * either, so the MMC core never offers a 1.8 V mode and the link is
	 * capped at HS/DDR52 by omission rather than by the hardware.
	 */
	mmc-hs200-1_8v;
	mmc-hs400-1_8v;
	non-removable;
	status = "okay";
};

/*
 * J21 on this board carries PCIE_TX0-3, PCIE_RX0-3 and PCIE_REF_CLK.
 * The M.2 M-key socket is the mezzanine that mates with J21; the
 * controller stays enabled with nothing attached. vpcie1v8 / vpcie0v9
 * are the SoC PCIe balls (sheet 11, VCCA_1V8 and VCCA_0V9). The slot
 * 3.3 V switch is on the mezzanine, and the host driver takes
 * vpcie3v3 as optional.
 */
&pcie_phy {
	status = "okay";
};

&pcie0 {
	ep-gpios = <&gpio4 RK_PD1 GPIO_ACTIVE_HIGH>;
	num-lanes = <4>;
	pinctrl-names = "default";
	pinctrl-0 = <&pcie_perst>;
	vpcie1v8-supply = <&vcc1v8_pmu>;
	vpcie0v9-supply = <&vcca_0v9>;
	status = "okay";
};

/*
 * J15 pins 3-8 are SDIO0. APIO3 (wifi/bt_gpio2cd) is 1.8 V only, so
 * vqmmc is vcc_1v8. Pins 17-18 present VCC3V3_SYS. The mezzanine
 * overrides vmmc with its NGFF 3.3 V switch when that board is described.
 */
&sdio0 {
	bus-width = <4>;
	cap-sd-highspeed;
	cap-sdio-irq;
	keep-power-in-suspend;
	mmc-pwrseq = <&sdio_pwrseq>;
	non-removable;
	pinctrl-names = "default";
	pinctrl-0 = <&sdio0_bus4 &sdio0_cmd &sdio0_clk>;
	sd-uhs-sdr104;
	vmmc-supply = <&vcc3v3_sys>;
	vqmmc-supply = <&vcc_1v8>;
	status = "okay";
};

/*
 * J20 pin 11 is SPDIF_TX, GPIO3_C0 (spdif_txb). The default mux is
 * GPIO4_C5, which this header does not use. RGMII does not claim
 * GPIO3_C0. The optical jack is on the mezzanine; the pin is on this board.
 */
&spdif {
	pinctrl-0 = <&spdif_bus_1>;
	status = "okay";

	spdif_p0: port {
		spdif_p0_0: endpoint {
			remote-endpoint = <&dit_p0_0>;
		};
	};
};

&spi1 {
	status = "okay";

	flash@0 {
		compatible = "jedec,spi-nor";
		reg = <0>;
		spi-max-frequency = <30000000>;
		vcc-supply = <&vcc3v3_sys>;
	};
};

&cdn_dp {
	status = "okay";
};

&tcphy0 {
	status = "okay";
};

&tcphy0_dp {
	mode-switch;

	port {
		tcphy0_typec_dp: endpoint {
			remote-endpoint = <&usb_con0_dp>;
		};
	};
};

&tcphy0_usb3 {
	orientation-switch;

	port {
		tcphy0_typec_ss: endpoint {
			remote-endpoint = <&usb_con0_ss>;
		};
	};
};

&tcphy1 {
	status = "okay";
};

&tcphy1_dp {
	mode-switch;

	port {
		tcphy1_typec_dp: endpoint {
			remote-endpoint = <&usb_con1_dp>;
		};
	};
};

&tcphy1_usb3 {
	orientation-switch;

	port {
		tcphy1_typec_ss: endpoint {
			remote-endpoint = <&usb_con1_ss>;
		};
	};
};

&tsadc {
	/* tshut mode 0:CRU 1:GPIO */
	rockchip,hw-tshut-mode = <1>;
	/* tshut polarity 0:LOW 1:HIGH */
	rockchip,hw-tshut-polarity = <1>;
	status = "okay";
};

&u2phy0 {
	status = "okay";

	u2phy0_otg: otg-port {
		phy-supply = <&vcc_vbus_typec0>;
		status = "okay";
	};

	u2phy0_host: host-port {
		phy-supply = <&vcc5v0_host>;
		status = "okay";
	};

	port {
		u2phy0_typec_hs: endpoint {
			remote-endpoint = <&usb_con0_hs>;
		};
	};
};

&u2phy1 {
	status = "okay";

	u2phy1_otg: otg-port {
		/*
		 * No phy-supply here, deliberately. vcc_vbus_typec1 is this
		 * Type-C port's VBUS and belongs to the port manager: fusb1
		 * already claims it as vbus-supply, and TCPM sequences it as
		 * part of attach.
		 *
		 * Naming it here too gives the rail two owners, and the USB2
		 * PHY switches it on at probe with no regard for Type-C state.
		 * TCPM then waits forever in SRC_ATTACH_WAIT, because
		 * SRC_ATTACH_WAIT -> SRC_ATTACHED is gated on
		 * port->vbus_vsafe0v and VBUS is never allowed to fall.
		 */
		status = "okay";
	};

	u2phy1_host: host-port {
		phy-supply = <&vcc5v0_host>;
		status = "okay";
	};

	port {
		u2phy1_typec_hs: endpoint {
			remote-endpoint = <&usb_con1_hs>;
		};
	};
};

&uart0 {
	pinctrl-names = "default";
	pinctrl-0 = <&uart0_xfer &uart0_cts>;
	status = "okay";
};

&uart2 {
	status = "okay";
};

&usb_host0_ehci {
	status = "okay";
};

&usb_host0_ohci {
	status = "okay";
};

&usb_host1_ehci {
	status = "okay";
};

&usb_host1_ohci {
	status = "okay";
};

&usbdrd3_0 {
	status = "okay";
};

&usbdrd_dwc3_0 {
	usb-role-switch;
	status = "okay";

	port {
		dwc3_0_role_switch: endpoint {
			remote-endpoint = <&fusb0_role_sw>;
		};
	};
};

&usbdrd3_1 {
	status = "okay";
};

&usbdrd_dwc3_1 {
	status = "okay";
	dr_mode = "host";
};

&vopb {
	status = "okay";
};

&vopb_mmu {
	status = "okay";
};

&vopl {
	status = "okay";
};

&vopl_mmu {
	status = "okay";
};
